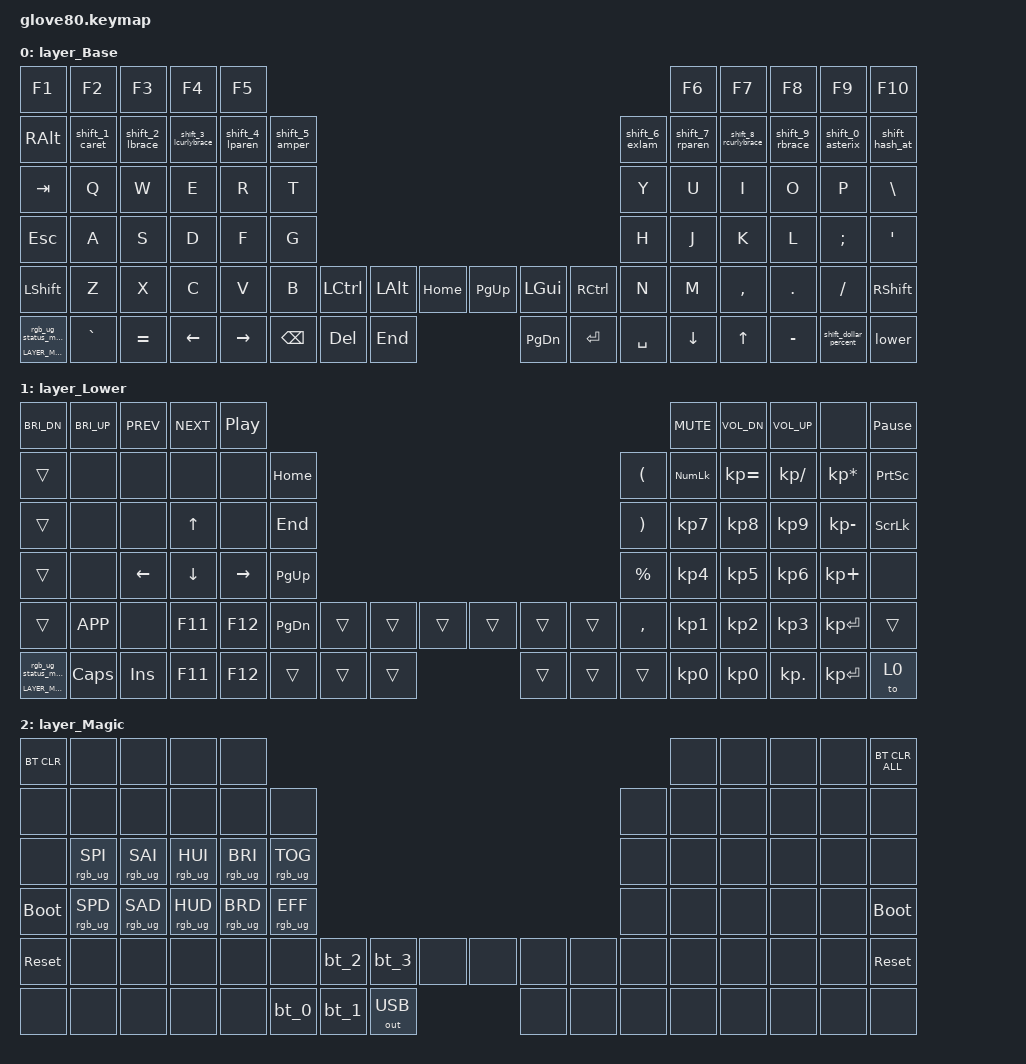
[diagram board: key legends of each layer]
/*
 * Copyright (c) 2020 The ZMK Contributors
 * Copyright (c) 2025 Innaworks Development Limited, trading as MoErgo
 *
 * SPDX-License-Identifier: MIT
 */


/* THIS FILE WAS GENERATED BY GLOVE80 LAYOUT EDITOR
 *
 * This file was generated automatically. You may or may not want to
 * edit it directly.
 */

#include <behaviors.dtsi>
/* Include all behavior includes needed */
#include <dt-bindings/zmk/outputs.h>
#include <dt-bindings/zmk/keys.h>
#include <dt-bindings/zmk/bt.h>
#include <dt-bindings/zmk/rgb.h>

/* On demand includes */


/* Automatically generated layer name #define */
#define LAYER_Base 0
#define LAYER_Lower 1
#define LAYER_Magic 2

/* To deal with the situation where there is no Lower layer, to keep &lower happy */
#ifndef LAYER_Lower
#define LAYER_Lower 0
#endif

/* Custom Device-tree */


/* Input Listeners */


/* System behavior and Macros */
/ {
    behaviors {
        // For the "layer" key, it'd nice to be able to use it as either a shift or a toggle.
        // Configure it as a tap dance, so the first tap (or hold) is a &mo and the second tap is a &to
        lower: lower {
            compatible = "zmk,behavior-tap-dance";
            label = "LAYER_TAP_DANCE";
            #binding-cells = <0>;
            tapping-term-ms = <200>;
            bindings = <&mo LAYER_Lower>, <&to LAYER_Lower>;
        };
    };
};

/ {
    macros {
        rgb_ug_status_macro: rgb_ug_status_macro {
            label = "RGB_UG_STATUS";
            compatible = "zmk,behavior-macro";
            #binding-cells = <0>;
            bindings
                = <&rgb_ug RGB_STATUS>;
        };
    };
};


/ {
#ifdef BT_DISC_CMD
    behaviors {
        bt_0: bt_0 {
            compatible = "zmk,behavior-tap-dance";
            label = "BT_0";
            #binding-cells = <0>;
            tapping-term-ms = <200>;
            bindings = <&bt_select_0>, <&bt BT_DISC 0>;
        };
        bt_1: bt_1 {
            compatible = "zmk,behavior-tap-dance";
            label = "BT_1";
            #binding-cells = <0>;
            tapping-term-ms = <200>;
            bindings = <&bt_select_1>, <&bt BT_DISC 1>;
        };
        bt_2: bt_2 {
            compatible = "zmk,behavior-tap-dance";
            label = "BT_2";
            #binding-cells = <0>;
            tapping-term-ms = <200>;
            bindings = <&bt_select_2>, <&bt BT_DISC 2>;
        };
        bt_3: bt_3 {
            compatible = "zmk,behavior-tap-dance";
            label = "BT_3";
            #binding-cells = <0>;
            tapping-term-ms = <200>;
            bindings = <&bt_select_3>, <&bt BT_DISC 3>;
        };
    };
    macros {
        bt_select_0: bt_select_0 {
            label = "BT_SELECT_0";
            compatible = "zmk,behavior-macro";
            #binding-cells = <0>;
            bindings
                = <&out OUT_BLE>,
                  <&bt BT_SEL 0>;
        };
        bt_select_1: bt_select_1 {
            label = "BT_SELECT_1";
            compatible = "zmk,behavior-macro";
            #binding-cells = <0>;
            bindings
                = <&out OUT_BLE>,
                  <&bt BT_SEL 1>;
        };
        bt_select_2: bt_select_2 {
            label = "BT_SELECT_2";
            compatible = "zmk,behavior-macro";
            #binding-cells = <0>;
            bindings
                = <&out OUT_BLE>,
                  <&bt BT_SEL 2>;
        };
        bt_select_3: bt_select_3 {
            label = "BT_SELECT_3";
            compatible = "zmk,behavior-macro";
            #binding-cells = <0>;
            bindings
                = <&out OUT_BLE>,
                  <&bt BT_SEL 3>;
        };
    };
#else
    macros {
        bt_0: bt_0 {
            label = "BT_0";
            compatible = "zmk,behavior-macro";
            #binding-cells = <0>;
            bindings
                = <&out OUT_BLE>,
                  <&bt BT_SEL 0>;
        };
        bt_1: bt_1 {
            label = "BT_1";
            compatible = "zmk,behavior-macro";
            #binding-cells = <0>;
            bindings
                = <&out OUT_BLE>,
                  <&bt BT_SEL 1>;
        };
        bt_2: bt_2 {
            label = "BT_2";
            compatible = "zmk,behavior-macro";
            #binding-cells = <0>;
            bindings
                = <&out OUT_BLE>,
                  <&bt BT_SEL 2>;
        };
        bt_3: bt_3 {
            label = "BT_3";
            compatible = "zmk,behavior-macro";
            #binding-cells = <0>;
            bindings
                = <&out OUT_BLE>,
                  <&bt BT_SEL 3>;
        };
    };
#endif
};

/ {
    behaviors {
        magic: magic {
            compatible = "zmk,behavior-hold-tap";
            label = "MAGIC_HOLD_TAP";
            #binding-cells = <2>;
            flavor = "tap-preferred";
            tapping-term-ms = <200>;
            bindings = <&mo>, <&rgb_ug_status_macro>;
        };
    };
};

/* #define for key positions */
#define POS_LH_T1 52
#define POS_LH_T2 53
#define POS_LH_T3 54
#define POS_LH_T4 69
#define POS_LH_T5 70
#define POS_LH_T6 71
#define POS_LH_C1R2 15
#define POS_LH_C1R3 27
#define POS_LH_C1R4 39
#define POS_LH_C1R5 51
#define POS_LH_C2R1 4
#define POS_LH_C2R2 14
#define POS_LH_C2R3 26
#define POS_LH_C2R4 38
#define POS_LH_C2R5 50
#define POS_LH_C2R6 68
#define POS_LH_C3R1 3
#define POS_LH_C3R2 13
#define POS_LH_C3R3 25
#define POS_LH_C3R4 37
#define POS_LH_C3R5 49
#define POS_LH_C3R6 67
#define POS_LH_C4R1 2
#define POS_LH_C4R2 12
#define POS_LH_C4R3 24
#define POS_LH_C4R4 36
#define POS_LH_C4R5 48
#define POS_LH_C4R6 66
#define POS_LH_C5R1 1
#define POS_LH_C5R2 11
#define POS_LH_C5R3 23
#define POS_LH_C5R4 35
#define POS_LH_C5R5 47
#define POS_LH_C5R6 65
#define POS_LH_C6R1 0
#define POS_LH_C6R2 10
#define POS_LH_C6R3 22
#define POS_LH_C6R4 34
#define POS_LH_C6R5 46
#define POS_LH_C6R6 64
#define POS_RH_T1 57
#define POS_RH_T2 56
#define POS_RH_T3 55
#define POS_RH_T4 74
#define POS_RH_T5 73
#define POS_RH_T6 72
#define POS_RH_C1R2 16
#define POS_RH_C1R3 28
#define POS_RH_C1R4 40
#define POS_RH_C1R5 58
#define POS_RH_C2R1 5
#define POS_RH_C2R2 17
#define POS_RH_C2R3 29
#define POS_RH_C2R4 41
#define POS_RH_C2R5 59
#define POS_RH_C2R6 75
#define POS_RH_C3R1 6
#define POS_RH_C3R2 18
#define POS_RH_C3R3 30
#define POS_RH_C3R4 42
#define POS_RH_C3R5 60
#define POS_RH_C3R6 76
#define POS_RH_C4R1 7
#define POS_RH_C4R2 19
#define POS_RH_C4R3 31
#define POS_RH_C4R4 43
#define POS_RH_C4R5 61
#define POS_RH_C4R6 77
#define POS_RH_C5R1 8
#define POS_RH_C5R2 20
#define POS_RH_C5R3 32
#define POS_RH_C5R4 44
#define POS_RH_C5R5 62
#define POS_RH_C5R6 78
#define POS_RH_C6R1 9
#define POS_RH_C6R2 21
#define POS_RH_C6R3 33
#define POS_RH_C6R4 45
#define POS_RH_C6R5 63
#define POS_RH_C6R6 79

/* Custom Defined Behaviors */
/ {
behaviors {

    shift_1_caret: shift_1_caret {
        compatible = "zmk,behavior-mod-morph";
        #binding-cells = <0>;
        bindings = <&kp N1>, <&kp LS(N6)>;
        mods = <(MOD_LSFT|MOD_RSFT)>;
    };

    // Needs to be an override in the case that ctr + shift + number key, we
    // Note: this does not quite work yet, but not sure why
    // want the number to be sent
    // exclusive_2_lbrace: exclusive_2_lbrace {
    //     compatible = "zmk,behavior-mod-morph";
    //     #binding-cells = <0>;
    //     bindings = <&kp LEFT_BRACKET>, <&kp N2>;
    //     mods = <(MOD_LCTL|MOD_RCTL|MOD_LALT|MOD_RALT)>;
    // };

    shift_2_lbrace: shift_2_lbrace {
        compatible = "zmk,behavior-mod-morph";
        #binding-cells = <0>;
        bindings = <&kp N2>, <&kp LEFT_BRACKET>;
        mods = <(MOD_LSFT|MOD_RSFT)>;
    };

    shift_3_lcurlybrace: shift_3_lcurlybrace {
        compatible = "zmk,behavior-mod-morph";
        #binding-cells = <0>;
        bindings = <&kp N3>, <&kp LS(LEFT_BRACKET)>;
        mods = <(MOD_LSFT|MOD_RSFT)>;
    };

    shift_4_lparen: shift_4_lparen {
        compatible = "zmk,behavior-mod-morph";
        #binding-cells = <0>;
        bindings = <&kp N4>, <&kp LS(N9)>;
        mods = <(MOD_LSFT|MOD_RSFT)>;
    };

    shift_5_amper: shift_5_amper {
        compatible = "zmk,behavior-mod-morph";
        #binding-cells = <0>;
        bindings = <&kp N5>, <&kp LS(N7)>;
        mods = <(MOD_LSFT|MOD_RSFT)>;
    };

    shift_6_exlam: shift_6_exlam {
        compatible = "zmk,behavior-mod-morph";
        #binding-cells = <0>;
        bindings = <&kp N6>, <&kp LS(N1)>;
        mods = <(MOD_LSFT|MOD_RSFT)>;
    };

    shift_7_rparen: shift_7_rparen {
        compatible = "zmk,behavior-mod-morph";
        #binding-cells = <0>;
        bindings = <&kp N7>, <&kp LS(N0)>;
        mods = <(MOD_LSFT|MOD_RSFT)>;
    };

    shift_8_rcurlybrace: shift_8_rcurlybrace {
        compatible = "zmk,behavior-mod-morph";
        #binding-cells = <0>;
        bindings = <&kp N8>, <&kp LS(RIGHT_BRACKET)>;
        mods = <(MOD_LSFT|MOD_RSFT)>;
    };

    shift_9_rbrace: shift_9_rbrace {
        compatible = "zmk,behavior-mod-morph";
        #binding-cells = <0>;
        bindings = <&kp N9>, <&kp RIGHT_BRACKET>;
        mods = <(MOD_LSFT|MOD_RSFT)>;
    };

    shift_0_asterix: shift_0_asterix {
        compatible = "zmk,behavior-mod-morph";
        #binding-cells = <0>;
        bindings = <&kp N0>, <&kp LS(N8)>;
        mods = <(MOD_LSFT|MOD_RSFT)>;
    };

    shift_hash_at: shift_hash_at {
        compatible = "zmk,behavior-mod-morph";
        #binding-cells = <0>;
        bindings = <&kp LS(N3)>, <&kp LS(N2)>;
        mods = <(MOD_LSFT|MOD_RSFT)>;
    };

    shift_dollar_percent: shift_dollar_percent {
        compatible = "zmk,behavior-mod-morph";
        #binding-cells = <0>;
        bindings = <&kp LS(N4)>, <&kp LS(N5)>;
        mods = <(MOD_LSFT|MOD_RSFT)>;
    };

};

};

/* Automatically generated macro definitions */
/ {
    macros {

    };
};

/* Automatically generated behavior definitions */
/ {
    behaviors {

    };
};

/* Automatically generated combos definitions */


/* Automatically generated keymap */
/ {
    keymap {
        compatible = "zmk,keymap";


        layer_Base {
            bindings = <
               &kp F1          &kp F2           &kp F3                &kp F4           &kp F5                                                                                                          &kp F6                &kp F7           &kp F8                 &kp F9         &kp F10
             &kp RALT  &shift_1_caret  &shift_2_lbrace  &shift_3_lcurlybrace  &shift_4_lparen  &shift_5_amper                                                                 &shift_6_exlam  &shift_7_rparen  &shift_8_rcurlybrace  &shift_9_rbrace       &shift_0_asterix  &shift_hash_at
              &kp TAB           &kp Q            &kp W                 &kp E            &kp R           &kp T                                                                          &kp Y            &kp U                 &kp I            &kp O                  &kp P        &kp BSLH
              &kp ESC           &kp A            &kp S                 &kp D            &kp F           &kp G                                                                          &kp H            &kp J                 &kp K            &kp L               &kp SEMI         &kp SQT
            &kp LSHFT           &kp Z            &kp X                 &kp C            &kp V           &kp B  &kp LCTRL  &kp LALT  &kp HOME  &kp PG_UP  &kp LGUI  &kp RCTRL           &kp N            &kp M             &kp COMMA          &kp DOT               &kp FSLH       &kp RSHFT
 &magic LAYER_Magic 0       &kp GRAVE        &kp EQUAL              &kp LEFT        &kp RIGHT                   &kp BSPC   &kp DEL   &kp END  &kp PG_DN   &kp RET  &kp SPACE                         &kp DOWN                &kp UP        &kp MINUS  &shift_dollar_percent          &lower
            >;
        };

        layer_Lower {
            bindings = <
         &kp C_BRI_DN  &kp C_BRI_UP      &kp C_PREV      &kp C_NEXT         &kp C_PP                                                                                    &kp C_MUTE  &kp C_VOL_DN  &kp C_VOL_UP            &none  &kp PAUSE_BREAK
               &trans         &none           &none           &none            &none   &kp HOME                                                   &kp LEFT_PARENTHESIS  &kp KP_NUM  &kp KP_EQUAL  &kp KP_SLASH  &kp KP_MULTIPLY  &kp PRINTSCREEN
               &trans         &none           &none    &kp UP_ARROW            &none    &kp END                                                  &kp RIGHT_PARENTHESIS   &kp KP_N7     &kp KP_N8     &kp KP_N9     &kp KP_MINUS   &kp SCROLLLOCK
               &trans         &none  &kp LEFT_ARROW  &kp DOWN_ARROW  &kp RIGHT_ARROW  &kp PG_UP                                                            &kp PERCENT   &kp KP_N4     &kp KP_N5     &kp KP_N6      &kp KP_PLUS            &none
               &trans     &kp K_APP           &none         &kp F11          &kp F12  &kp PG_DN  &trans  &trans  &trans  &trans  &trans  &trans              &kp COMMA   &kp KP_N1     &kp KP_N2     &kp KP_N3     &kp KP_ENTER           &trans
 &magic LAYER_Magic 0      &kp CAPS         &kp INS         &kp F11          &kp F12             &trans  &trans  &trans  &trans  &trans  &trans                          &kp KP_N0     &kp KP_N0    &kp KP_DOT     &kp KP_ENTER            &to 0
            >;
        };

        layer_Magic {
            bindings = <
  &bt BT_CLR            &none            &none            &none            &none                                                                                  &none   &none   &none   &none  &bt BT_CLR_ALL
       &none            &none            &none            &none            &none            &none                                                         &none   &none   &none   &none   &none           &none
       &none  &rgb_ug RGB_SPI  &rgb_ug RGB_SAI  &rgb_ug RGB_HUI  &rgb_ug RGB_BRI  &rgb_ug RGB_TOG                                                         &none   &none   &none   &none   &none           &none
 &bootloader  &rgb_ug RGB_SPD  &rgb_ug RGB_SAD  &rgb_ug RGB_HUD  &rgb_ug RGB_BRD  &rgb_ug RGB_EFF                                                         &none   &none   &none   &none   &none     &bootloader
  &sys_reset            &none            &none            &none            &none            &none   &bt_2   &bt_3         &none   &none   &none   &none   &none   &none   &none   &none   &none      &sys_reset
       &none            &none            &none            &none            &none                    &bt_0   &bt_1  &out OUT_USB   &none   &none   &none           &none   &none   &none   &none           &none
            >;
        };

    };
};
